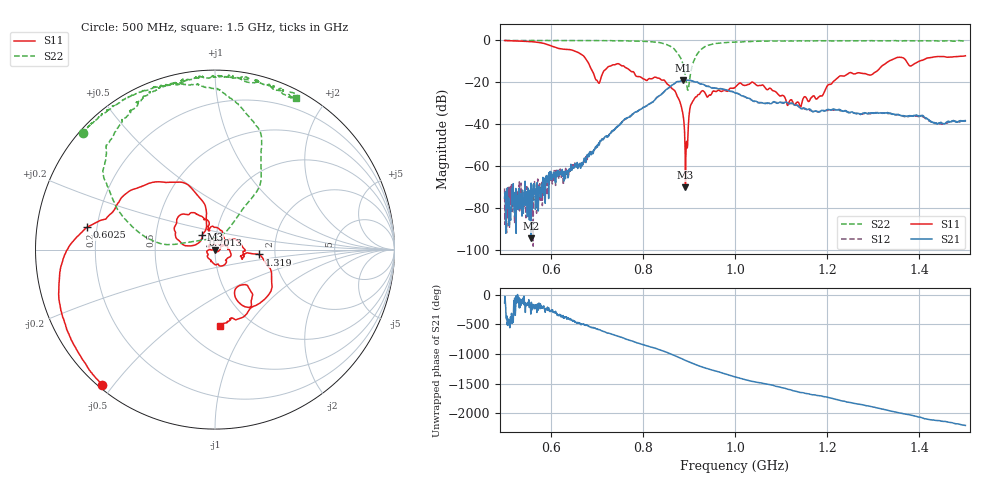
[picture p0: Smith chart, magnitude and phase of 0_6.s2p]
!Agilent Technologies,E8364B,US42250235,A.06.04.32
!Agilent E8364B: A.06.04.32
!Date: Friday, January 15, 2021 15:17:45
!Correction: S11(Full 2 Port(1,2)) S21(Full 2 Port(1,2)) S12(Full 2 Port(1,2)) S22(Full 2 Port(1,2))
!S2P File: Measurements: S11, S21, S12, S22:
# Hz S  dB  R 50
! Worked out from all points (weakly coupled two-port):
!   1601 points, 500 MHz to 1.5 GHz, reference 50 ohm
!   highest |S21| = -19.05 dB at 887.5 MHz (marker M1); lowest = -94.6 dB at 556.9 MHz (marker M2)
!   lowest |S11| = -70.3 dB at 892.5 MHz (marker M3), VSWR 1.00, Z = 50 - j0.0302 ohm
!   |S11| at or under -10 dB: 679.4 MHz to 1.334 GHz (654.8 MHz wide, 65 % of centre); 1.372 GHz to 1.4 GHz (28.22 MHz wide, 2.04 % of centre)
!   |S22| runs from -23.9 to -0.1 dB; largest |S21 - S12| = 0.0032
!   S11 on the Smith chart (normalised r, x): 500 MHz: 0.01, -0.47; 602.5 MHz: 0.16, +0.08; 701.2 MHz: 0.86, +0.14; 1.319 GHz: 1.64, -0.09; 1.5 GHz: 0.73, -0.76
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5e8  -0.16 -130.0  -75.53 -139.1  -70.74 114.8  -0.14 138.5
5.56875e8  -0.69 -158.5  -94.57 31.8  -71.75 -172.3  -0.16 133.2
6.025e8  -2.81 170.1  -66.73 102.8  -65.53 72.8  -0.19 128.8
6.66875e8  -6.85 124.4  -59.18 -134.0  -59.50 -137.4  -0.19 121.7
7.0125e8  -19.46 131.0  -51.11 137.2  -50.49 139.9  -0.18 118.4
7.44375e8  -11.27 140.0  -41.13 23.3  -41.32 21.7  -0.28 110.3
8.3375e8  -18.13 90.7  -26.82 158.1  -26.82 157.5  -1.04 88.1
8.71875e8  -25.21 24.8  -20.11 45.6  -20.15 44.6  -5.24 62.1
8.875e8  -35.91 -48.6  -19.05 -10.6  -19.16 -11.3  -11.92 55.6
8.925e8  -70.33 -82.4  -19.10 -28.0  -19.14 -28.5  -17.24 57.1
8.99375e8  -38.62 -171.8  -19.13 -50.1  -19.10 -50.8  -22.39 133.1
9.05e8  -30.51 170.5  -19.29 -69.7  -19.33 -70.4  -14.19 170.1
9.15625e8  -27.06 129.6  -19.98 -100.7  -20.03 -101.6  -7.55 168.2
9.40625e8  -27.14 69.0  -22.06 -166.0  -22.03 -167.5  -2.46 145.9
1e9  -22.58 2.5  -25.21 55.1  -25.10 54.3  -0.90 121.6
1.039375e9  -20.16 -69.0  -29.12 -22.7  -29.11 -24.5  -0.54 115.1
1.14e9  -30.97 94.7  -31.99 154.6  -31.95 155.1  -0.30 100.8
1.166875e9  -27.14 38.0  -33.90 114.0  -33.92 116.5  -0.37 97.7
1.2275e9  -17.12 18.8  -33.08 19.8  -33.65 19.1  -0.30 90.7
1.319375e9  -12.21 -6.3  -34.79 -127.0  -34.85 -128.8  -0.32 82.1
1.33375e9  -10.06 -17.6  -34.76 -152.8  -35.10 -153.4  -0.32 79.4
1.5e9  -7.44 -86.0  -38.51 -42.6  -38.80 -45.1  -0.36 61.9
